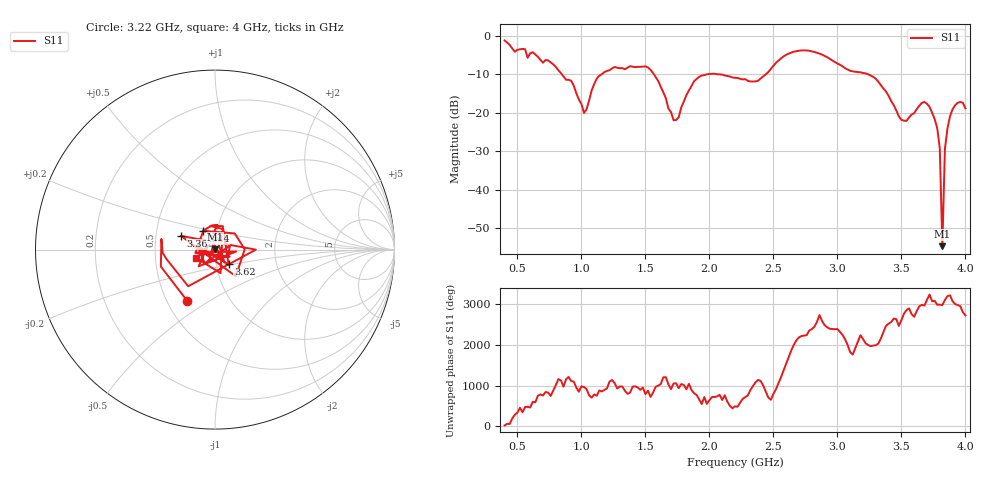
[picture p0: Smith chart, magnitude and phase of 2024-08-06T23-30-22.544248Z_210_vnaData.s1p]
!Created with skrf (http://scikit-rf.org).
# Hz S RI R 50.0
!freq ReS11 ImS11
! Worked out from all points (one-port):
!   181 points, 400 MHz to 4 GHz, reference 50 ohm
!   lowest |S11| = -54.7 dB at 3.82 GHz (marker M1), VSWR 1.00, Z = 50 + j0.182 ohm
!   |S11| at or under -10 dB: 1.566 GHz to 1.983 GHz (416.6 MHz wide, 23.5 % of centre); 2.063 GHz to 2.441 GHz (377.7 MHz wide, 16.8 % of centre); 3.24 GHz to end of sweep (the widest 3 of 4)
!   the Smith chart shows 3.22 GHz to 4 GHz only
!   S11 on the Smith chart (normalised r, x): 3.22 GHz: 0.63, -0.40; 3.36 GHz: 0.67, +0.11; 3.44 GHz: 0.85, +0.18; 3.62 GHz: 1.15, -0.19; 4 GHz: 0.81, -0.08
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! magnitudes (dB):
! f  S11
! 400 MHz  -1.2
! 860 MHz  -10.5
! 920 MHz  -11.7
! 1.02 GHz  -20.1
! 1.12 GHz  -11.1
! 1.3 GHz  -8.4
! 1.52 GHz  -8.2
! 1.72 GHz  -22.0
! 1.76 GHz  -21.2
! 1.92 GHz  -10.7
! 2.2 GHz  -10.9
! 2.38 GHz  -11.7
! 2.66 GHz  -4.1
! 3.1 GHz  -9.1
! 3.22 GHz  -9.8
! 3.36 GHz  -13.7
! 3.44 GHz  -18.0
! 3.5 GHz  -21.9
! 3.56 GHz  -21.2
! 3.62 GHz  -19.1
! 3.7 GHz  -17.7
! 3.78 GHz  -24.0
! 3.8 GHz  -29.3
! 3.82 GHz  -54.7
! 3.84 GHz  -29.4
! 3.86 GHz  -24.1
! 3.92 GHz  -18.0
! 4 GHz  -18.9
